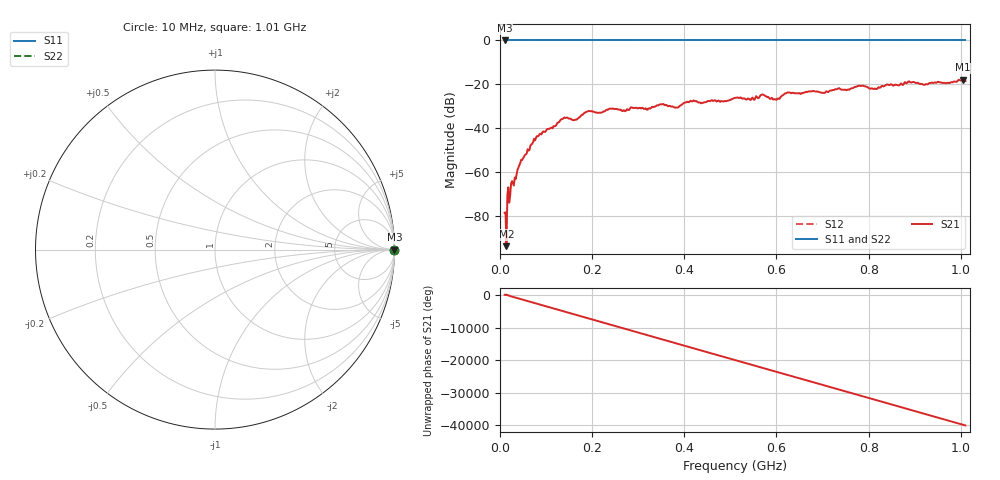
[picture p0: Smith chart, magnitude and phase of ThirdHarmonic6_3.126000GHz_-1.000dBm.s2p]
! 8/17/2025 9:17:34 AM
! C:\ANRITSUVNA\TEMP\TEMP.S2P
! CHANNEL.1
! TR.MEASUREMENT
! RAW.DATA
! RF.CORRECTION.OFF
! AVERAGING.OFF
! IF.BANDWIDTH: 5KHZ
! SWEEPTYPE:  FREQ.SWEEP(Linear)
! Reference Plane Port Info
! PORT:  PORT1  PORT2
! DISTANCE:  0  m  0  m
! TIME:  0  s  0  s
! PHASE.OFFSET:  0  deg.  0  deg.
! LOSS:  0  dB  0  dB
! REF.LOSS:  0  dB  0  dB
! REF.FREQ:  0  Hz  0  Hz
! Power Info
! POWER:  -20  dBm  -20  dBm
! EFF.POWER:  -20  dBm  -20  dBm
! SOURCE.ATTEN:  0  dB  0  dB
! TEST.ATTEN:  0  dB  0  dB
# GHZ S RI R 50.0
! FREQ.GHZ  S11RE  S11IM  S21RE  S21IM  S12RE  S12IM  S22RE  S22IM
!; PortSelection: Port_12
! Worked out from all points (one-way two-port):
!   501 points, 10 MHz to 1.01 GHz, reference 50 ohm
!   highest |S21| = -17.81 dB at 1.004 GHz (marker M1); lowest = -93.6 dB at 14 MHz (marker M2)
!   lowest |S11| = 0.0 dB at 10 MHz (marker M3)
!   |S11| at or under -10 dB: nowhere
!   |S22| runs from 0.0 to 0.0 dB; largest |S21 - S12| = 1.1
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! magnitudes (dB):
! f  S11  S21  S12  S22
! 10 MHz  0.0  -78.5  0.0  0.0
! 14 MHz  0.0  -93.6  0.0  0.0
! 20 MHz  0.0  -73.8  0.0  0.0
! 42 MHz  0.0  -56.9  0.0  0.0
! 78 MHz  0.0  -44.4  0.0  0.0
! 136 MHz  0.0  -35.7  0.0  0.0
! 162 MHz  0.0  -36.2  0.0  0.0
! 178 MHz  0.0  -33.8  0.0  0.0
! 344 MHz  0.0  -29.5  0.0  0.0
! 384 MHz  0.0  -30.5  0.0  0.0
! 416 MHz  0.0  -27.7  0.0  0.0
! 510 MHz  0.0  -26.1  0.0  0.0
! 548 MHz  0.0  -26.0  0.0  0.0
! 570 MHz  0.0  -24.6  0.0  0.0
! 596 MHz  0.0  -26.7  0.0  0.0
! 624 MHz  0.0  -23.7  0.0  0.0
! 678 MHz  0.0  -23.1  0.0  0.0
! 782 MHz  0.0  -20.7  0.0  0.0
! 814 MHz  0.0  -21.9  0.0  0.0
! 844 MHz  0.0  -20.3  0.0  0.0
! 1.004 GHz  0.0  -17.8  0.0  0.0
! 1.01 GHz  0.0  -18.5  0.0  0.0
